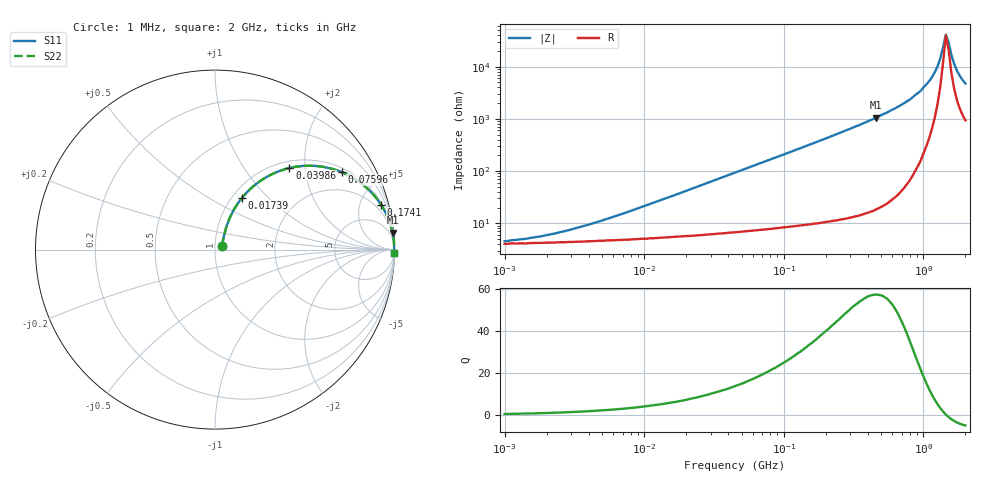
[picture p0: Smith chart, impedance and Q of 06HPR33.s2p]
# MHz S MA R 50
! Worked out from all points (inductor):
!   166 points, 1 MHz to 2 GHz, reference 50 ohm
!   read as one part in series: L = 330 nH near 7.249 MHz
!   highest Q = 57.2 at 458 MHz (marker M1), where L = 367 nH
!   self-resonance near 1.449 GHz
!   S11 on the Smith chart (normalised r, x): 1 MHz: 1.08, +0.04; 17.39 MHz: 1.11, +0.72; 39.86 MHz: 1.13, +1.65; 75.96 MHz: 1.16, +3.16; 174.1 MHz: 1.20, +7.32; 2 GHz: 18, -93
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1  0.044 25.9  0.961 -1.1  0.961 -1.1  0.044 25.9
1.82  0.054 39.6  0.959 -2.1  0.959 -2.1  0.054 39.6
3.632  0.084 55.0  0.955 -4.1  0.955 -4.1  0.084 55.0
13.193  0.256 64.5  0.919 -14.6  0.919 -14.6  0.256 64.5
17.394  0.327 62.4  0.896 -18.9  0.896 -18.9  0.327 62.4
39.857  0.615 47.6  0.741 -37.8  0.741 -37.8  0.615 47.6
45.763  0.666 44.3  0.7 -41.7  0.7 -41.7  0.666 44.3
75.96  0.827 31.5  0.523 -55.7  0.523 -55.7  0.827 31.5
166.224  0.954 15.8  0.273 -72.5  0.273 -72.5  0.954 15.8
174.06  0.958 15.2  0.262 -73.3  0.262 -73.3  0.958 15.2
457.963  0.994 5.4  0.094 -83.6  0.094 -83.6  0.994 5.4
576.582  0.996 4.0  0.07 -84.9  0.07 -84.9  0.996 4.0
795.985  0.998 2.4  0.043 -86.0  0.043 -86.0  0.998 2.4
1098.876  0.998 1.1  0.019 -84.3  0.019 -84.3  0.998 1.1
1261.733  0.998 0.6  0.009933 -78.6  0.009933 -78.6  0.998 0.6
1321.216  0.998 0.4  0.007002 -73.0  0.007002 -73.0  0.998 0.4
1448.726  0.998 0.0  0.002422 -15.7  0.002422 -15.7  0.998 0.0
1517.024  0.997 -0.1  0.003452 42.9  0.003452 42.9  0.997 -0.1
1588.542  0.997 -0.3  0.006028 62.7  0.006028 62.7  0.997 -0.3
1663.432  0.997 -0.5  0.008904 70.0  0.008904 70.0  0.997 -0.5
1823.969  0.996 -0.8  0.015 75.5  0.015 75.5  0.996 -0.8
2000  0.996 -1.2  0.021 77.4  0.021 77.4  0.996 -1.2
